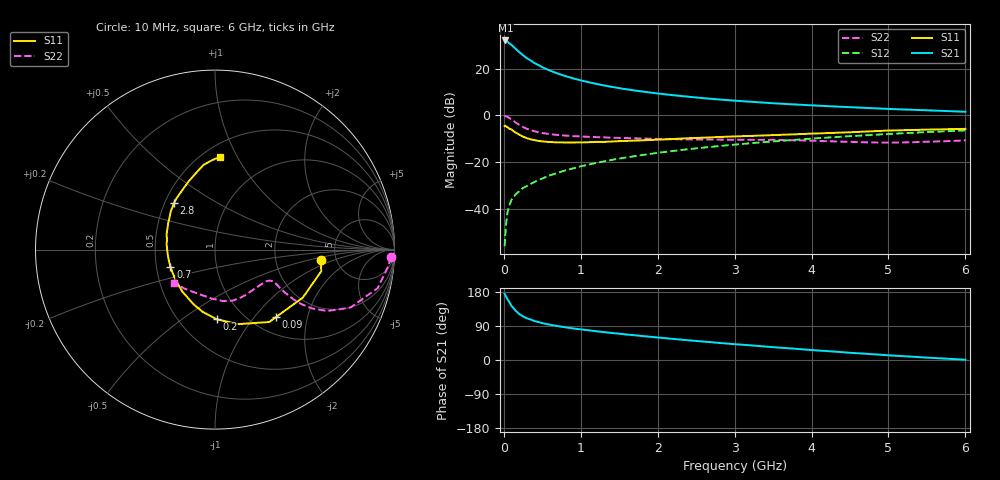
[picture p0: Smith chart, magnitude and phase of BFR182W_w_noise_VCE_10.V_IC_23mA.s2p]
! Infineon Technologies  Discrete & RF Semiconductors
! BFR182W
! VCE =  10. V,  IC =  23 mA
! Common Emitter S-Parameters:  Jan 2017
# GHz  S  MA  R  50
!  f  S11  S21  S12  S22
! GHz  MAG  ANG  MAG  ANG  MAG  ANG  MAG  ANG
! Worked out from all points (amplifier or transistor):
!   77 points, 10 MHz to 6 GHz, reference 50 ohm
!   highest |S21| = 32.1 dB at 20 MHz (marker M1)
!   |S21| within 3 dB of that: start of sweep to 134.9 MHz
!   unconditionally stable (mu >= 1): 825.4 MHz to 2.344 GHz
!   at 130 MHz: K = 0.44, MSG = 32.0 dB, |S12| = -34.8 dB
!   at 2.2 GHz: K = 1.01, MAG = 11.3 dB, |S12| = -15.2 dB
!   at 6 GHz: K = 0.86, MSG = 4.0 dB, |S12| = -6.4 dB
!   lowest NFmin = 1.50 dB at 450 MHz
!   S11 on the Smith chart (normalised r, x): 10 MHz: 3.79, -0.66; 90 MHz: 1.29, -1.30; 200 MHz: 0.75, -0.69; 700 MHz: 0.59, -0.12; 2.8 GHz: 0.56, +0.33; 6 GHz: 0.60, +0.85
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0.01  0.5927 -5.5  40.13 174.5  0.0016 71.0  0.9803 -2.4
0.02  0.6041 -11.5  40.22 170.9  0.0029 86.2  0.97 -5.4
0.05  0.5578 -28.6  37.53 159.3  0.0089 79.5  0.9316 -13.3
0.09  0.5068 -47.9  33.11 146.4  0.0143 72.3  0.8416 -20.9
0.1  0.504 -53.2  32.31 142.7  0.0157 71.3  0.8217 -23.1
0.15  0.4347 -72.8  27.01 130.5  0.0201 67.3  0.7133 -28.7
0.2  0.3882 -88.6  22.69 121.6  0.0239 66.3  0.6289 -31.3
0.25  0.3529 -101.5  19.39 114.8  0.0281 64.9  0.5655 -32.3
0.3  0.326 -112.0  16.75 110.0  0.031 65.3  0.5175 -32.4
0.4  0.2963 -128.0  13.17 102.6  0.0379 66.6  0.458 -31.6
0.5  0.2787 -140.5  10.77 97.3  0.045 68.3  0.4214 -30.6
0.6  0.2698 -150.7  9.121 93.1  0.0523 69.1  0.3981 -29.6
0.7  0.2658 -159.2  7.888 89.5  0.0592 70.5  0.3825 -29.0
0.9  0.2646 -171.9  6.212 83.4  0.0737 71.1  0.362 -28.9
1.1  0.2676 178.0  5.148 78.4  0.0889 71.5  0.35 -29.6
1.5  0.2825 162.6  3.84 69.4  0.1195 70.3  0.3309 -33.2
2.1  0.3083 145.7  2.832 57.6  0.1662 67.2  0.3128 -42.8
2.8  0.3463 131.1  2.199 45.1  0.2218 62.6  0.3046 -57.3
3.1  0.3605 125.3  2.021 40.3  0.2458 60.2  0.302 -63.4
4.1  0.4138 109.5  1.616 24.9  0.3277 51.9  0.2852 -83.9
5.1  0.48 96.6  1.362 11.2  0.4091 42.5  0.2636 -113.7
6  0.5183 86.8  1.201 0.7  0.4796 33.6  0.2934 -141.0
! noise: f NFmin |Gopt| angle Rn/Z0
0.45  1.5  0.14  -170  0.15
0.9  1.58  0.16  -165  0.16
1.9  2.1  0.31  -139  0.17
2.4  2.38  0.32  -127  0.27
